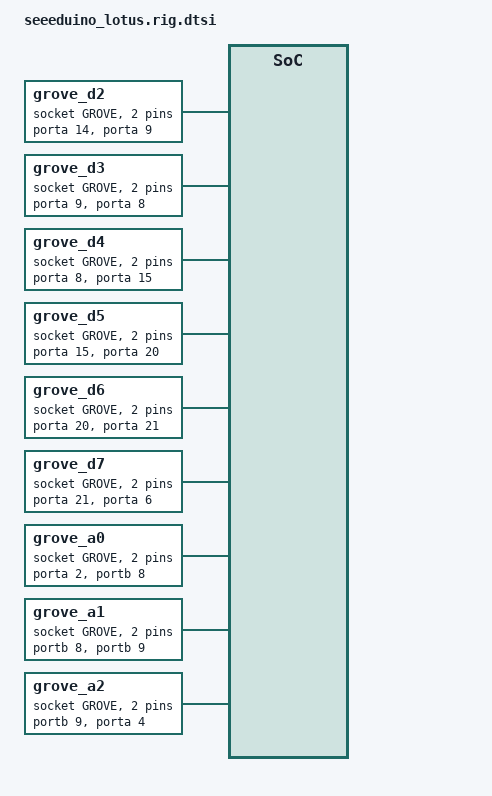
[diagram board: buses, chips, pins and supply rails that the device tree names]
/* Board-DT fragment: Seeed Seeeduino Lotus (SAMD21), from the bridle project.
 * The board's physical Grove connectors as typed sockets (Conv. 4). Real pin
 * mapping from bridle's grove_d and grove_a connector .dtsi files.
 *
 * Note the daisy-lacing: SIG1 of one connector is SIG0 of the next (D3 =
 * porta9 in both grove_d2 and grove_d3). That is real cross-socket net
 * sharing (R13) — the expander resolves both to porta9. Modules here (button,
 * LED) use SIG0 only, so their SIG0 pins are all distinct; the lacing would
 * bite a module that also claimed SIG1.
 *
 * Replaces bridle's per-connector `seeed,grove-connector` nexuses PLUS the
 * "laced" `grove_gpios` flat rail (grove_connectors.dtsi) — the rail existed
 * only to give shields one label to hardcode, which is what forced 64 overlays
 * per shield. With typed sockets a module names its socket instead.
 */

#include <dt-bindings/connector/grove.h>

/ {
	/* Digital Grove sockets. socket,pwm-map (rig-model data, 5-cell rows:
	 * <position 0 &timer channel 0>) mirrors bridle's pwm-map — note D2, D4
	 * both land on tcc0 ch0, so using both as PWM at once is a channel clash. */
	grove_d2: grove-d2 { compatible = "socket,grove"; #gpio-cells = <2>;
		gpio-map = <GROVE_SIG0 0 &porta 14 0>, <GROVE_SIG1 0 &porta 9 0>;
		socket,pwm-map = <GROVE_SIG0 0 &tcc0 0 0>, <GROVE_SIG1 0 &tcc0 1 0>; };
	grove_d3: grove-d3 { compatible = "socket,grove"; #gpio-cells = <2>;
		gpio-map = <GROVE_SIG0 0 &porta 9 0>, <GROVE_SIG1 0 &porta 8 0>;
		socket,pwm-map = <GROVE_SIG0 0 &tcc0 1 0>, <GROVE_SIG1 0 &tcc0 0 0>; };
	grove_d4: grove-d4 { compatible = "socket,grove"; #gpio-cells = <2>;
		gpio-map = <GROVE_SIG0 0 &porta 8 0>, <GROVE_SIG1 0 &porta 15 0>;
		socket,pwm-map = <GROVE_SIG0 0 &tcc0 0 0>, <GROVE_SIG1 0 &tcc0 1 0>; };
	grove_d5: grove-d5 { compatible = "socket,grove"; #gpio-cells = <2>;
		gpio-map = <GROVE_SIG0 0 &porta 15 0>, <GROVE_SIG1 0 &porta 20 0>; };
	grove_d6: grove-d6 { compatible = "socket,grove"; #gpio-cells = <2>;
		gpio-map = <GROVE_SIG0 0 &porta 20 0>, <GROVE_SIG1 0 &porta 21 0>; };
	grove_d7: grove-d7 { compatible = "socket,grove"; #gpio-cells = <2>;
		gpio-map = <GROVE_SIG0 0 &porta 21 0>, <GROVE_SIG1 0 &porta 6 0>; };

	/* Analog Grove sockets. socket,adc-map: position -> (adc, channel). */
	grove_a0: grove-a0 { compatible = "socket,grove"; #gpio-cells = <2>;
		gpio-map = <GROVE_SIG0 0 &porta 2 0>, <GROVE_SIG1 0 &portb 8 0>;
		socket,adc-map = <GROVE_SIG0 0 &adc0 0 0>, <GROVE_SIG1 0 &adc0 1 0>; };
	grove_a1: grove-a1 { compatible = "socket,grove"; #gpio-cells = <2>;
		gpio-map = <GROVE_SIG0 0 &portb 8 0>, <GROVE_SIG1 0 &portb 9 0>;
		socket,adc-map = <GROVE_SIG0 0 &adc0 1 0>, <GROVE_SIG1 0 &adc0 2 0>; };
	grove_a2: grove-a2 { compatible = "socket,grove"; #gpio-cells = <2>;
		gpio-map = <GROVE_SIG0 0 &portb 9 0>, <GROVE_SIG1 0 &porta 4 0>; };
};
